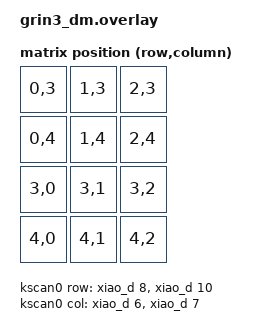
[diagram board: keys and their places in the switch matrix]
#include <dt-bindings/zmk/matrix_transform.h>
#include <physical_layouts.dtsi>
#include <dt-bindings/zmk/bt.h>

#define INPUT_EV_KEY 0x01               /**< Key event */
#define INPUT_EV_REL 0x02               /**< Relative coordinate event */
#define INPUT_EV_ABS 0x03               /**< Absolute coordinate event */
#define INPUT_EV_MSC 0x04               /**< Miscellaneous event */
#define INPUT_EV_VENDOR_START 0xf0      /**< Vendor specific event start */
#define INPUT_EV_VENDOR_STOP 0xff       /**< Vendor specific event stop */
#define INPUT_REL_X 0x00                /**< Relative X coordinate */
#define INPUT_REL_Y 0x01                /**< Relative Y coordinate */
#define INPUT_REL_WHEEL 0x08            /**< Relative wheel coordinate */
#define INPUT_REL_HWHEEL 0x06           /**< Relative horizontal wheel coordinate */
#define INPUT_REL_MISC 0x09             /**< Relative misc coordinate */

&pinctrl {
    spi0_default: spi0_default {
        group1 {
            psels = <NRF_PSEL(SPIM_SCK, 0, 5)>,
                <NRF_PSEL(SPIM_MOSI, 0, 4)>,
                <NRF_PSEL(SPIM_MISO, 0, 4)>;
        };
    };

    spi0_sleep: spi0_sleep {
        group1 {
            psels = <NRF_PSEL(SPIM_SCK, 0, 5)>,
                <NRF_PSEL(SPIM_MOSI, 0, 4)>,
                <NRF_PSEL(SPIM_MISO, 0, 4)>;
            low-power-enable;
        };
    };
};

&spi0 {
    status = "okay";
    compatible = "nordic,nrf-spim";
    cs-gpios = <&xiao_d 1 GPIO_ACTIVE_LOW>;
    pinctrl-0 = <&spi0_default>;
    pinctrl-1 = <&spi0_sleep>;
    pinctrl-names = "default", "sleep";

    trackball: pd@0 {
        status = "okay";
        compatible = "pixart,pmw3610";
        reg = <0>;
        spi-max-frequency = <2000000>;
        irq-gpios = <&xiao_d 3 (GPIO_ACTIVE_LOW | GPIO_PULL_UP)>;
        cpi = <400>;
        evt-type = <INPUT_EV_REL>;
        x-input-code = <INPUT_REL_X>;
        y-input-code = <INPUT_REL_Y>;
    };
};

&xiao_i2c { status = "disabled"; };
&xiao_serial { status = "disabled"; };
&uart0 { status = "disabled"; };

/ {
  chosen {
    zmk,physical-layout = &grin3_physical_layout;
  };

  grin3_physical_layout: grin3_physical_layout {
      compatible = "zmk,physical-layout";
      display-name = "Default";
      transform = <&default_transform>;
      kscan = <&kscan0>;

      keys  //                     w   h    x    y     rot    rx    ry
          = <&key_physical_attrs 100 100    0    0       0     0     0>
          , <&key_physical_attrs 100 100  100    0       0     0     0>
          , <&key_physical_attrs 100 100  201    2     375   251    52>
          , <&key_physical_attrs 150 100    0  100       0     0     0>
          , <&key_physical_attrs 100 100  150  100     125   200   150>
          , <&key_physical_attrs 100 100  251  107     625   301   157>
          , <&key_physical_attrs 175 100    0  200       0     0     0>
          , <&key_physical_attrs 100 100  175  201     250   225   251>
          , <&key_physical_attrs 100 100  276  210     750   326   260>
          , <&key_physical_attrs 100 100  375  227    1250   425   277>
          , <&key_physical_attrs 225 100    0  300       0     0     0>
          , <&key_physical_attrs 100 100  226  304     500   276   354>
          , <&key_physical_attrs 100 100  326  318    1000   376   368>
          ;
    };

    default_transform: keymap_transform_0 {
      compatible = "zmk,matrix-transform";
      columns = <3>;
      rows = <2>;

      map = <
        RC(0,3) RC(1,3) RC(2,3)
        RC(0,4) RC(1,4) RC(2,4)
        RC(3,0) RC(3,1) RC(3,2)
        RC(4,0) RC(4,1) RC(4,2)
        >;
    };

    kscan0: kscan_0 {
        compatible = "zmk,kscan-gpio-matrix";
        diode-direction = "col2row";
        col-gpios
            = <&xiao_d 6 GPIO_ACTIVE_HIGH>
            , <&xiao_d 7 GPIO_ACTIVE_HIGH>
            ;
        row-gpios
            = <&xiao_d 8 GPIO_ACTIVE_HIGH>
            , <&xiao_d 10 GPIO_ACTIVE_HIGH>
            ;
    };
};

/ {
  trackball_listener {
    compatible = "zmk,input-listener";
    device = <&trackball>;
  };
};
